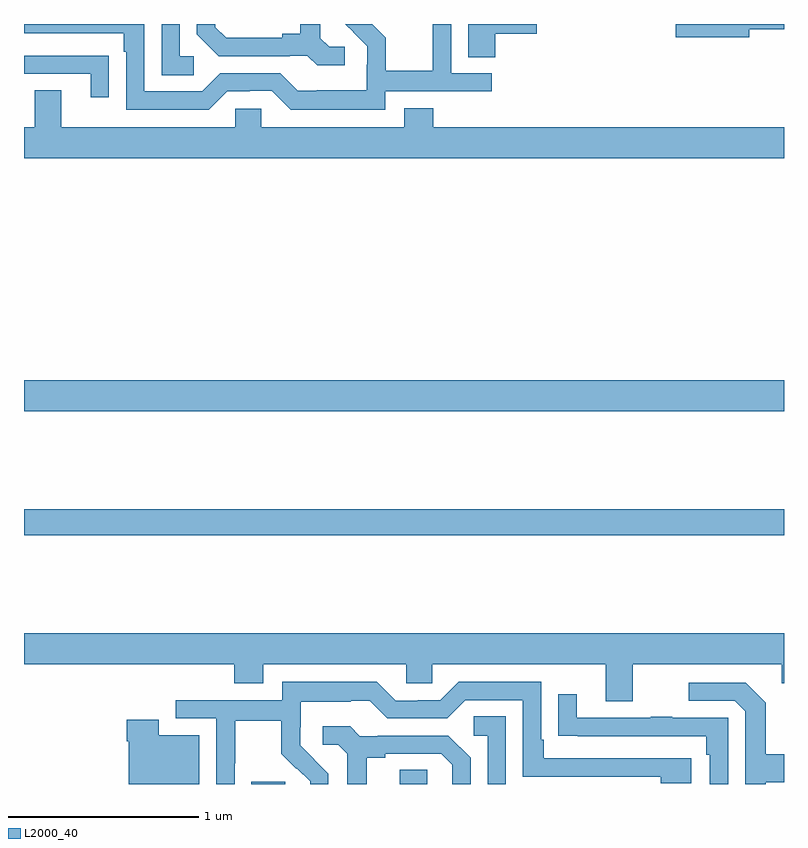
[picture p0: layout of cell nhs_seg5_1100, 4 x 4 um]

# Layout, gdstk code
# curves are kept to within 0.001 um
import gdstk
lib = gdstk.Library(unit=1e-6, precision=1e-09)
def R(c, l, rs):  # rectangles x0, y0, x1, y1
    for r in rs: c.add(gdstk.rectangle(r[:2], r[2:], *l))
def P(c, l, *ps):  # polygons
    for p in ps: c.add(gdstk.Polygon(p, *l))
L2000_40 = (2000, 40)

nhs_seg5_1100 = lib.new_cell('nhs_seg5_1100')
R(nhs_seg5_1100, L2000_40, [(180.197,854.799,180.376,854.811), (180.977,854.799,181.122,854.873), (179,856.108,183,856.244), (179,856.76,183,856.924)])
P(nhs_seg5_1100, L2000_40, [(182.818,858.772),(183,858.772),(183,858.799),(182.43,858.799),(182.43,858.73),(182.818,858.73)],
  [(181.481,858.749),(181.699,858.749),(181.699,858.799),(181.337,858.799),(181.337,858.625),(181.481,858.625)],
  [(179.893,858.63),(179.82,858.63),(179.82,858.799),(179.724,858.799),(179.724,858.529),(179.893,858.529)],
  [(180.9,858.444),(181.462,858.444),(181.462,858.54),(181.248,858.54),(181.248,858.799),(181.152,858.799),(181.152,858.776),(181.15,858.776),(181.15,858.553),(180.905,858.553),(180.905,858.727),(180.833,858.799),(180.691,858.799),(180.806,858.682),(180.806,858.585),(180.804,858.585),(180.804,858.451),(180.541,858.451),(180.541,858.447),(180.441,858.447),(180.348,858.54),(180.033,858.54),(179.937,858.444),(179.634,858.444),(179.634,858.799),(179,858.799),(179,858.75),(179.525,858.75),(179.525,858.653),(179.538,858.653),(179.538,858.348),(179.973,858.348),(180.069,858.444),(180.188,858.444),(180.188,858.447),(180.303,858.447),(180.403,858.347),(180.9,858.347)],
  [(180.688,858.678),(180.606,858.678),(180.559,858.725),(180.559,858.799),(180.455,858.799),(180.455,858.749),(180.359,858.749),(180.359,858.726),(180.064,858.726),(180.007,858.783),(180.007,858.799),(179.91,858.799),(179.91,858.746),(180.026,858.63),(180.398,858.63),(180.398,858.633),(180.492,858.633),(180.544,858.581),(180.688,858.581)],
  [(179.447,858.632),(179.345,858.632),(179.345,858.633),(179,858.633),(179,858.537),(179.351,858.537),(179.351,858.414),(179.447,858.414)],
  [(183,858.256),(181.154,858.256),(181.154,858.355),(181.001,858.355),(181.001,858.256),(180.249,858.256),(180.249,858.354),(180.111,858.354),(180.111,858.256),(179.197,858.256),(179.197,858.451),(179.057,858.451),(179.057,858.256),(179,858.256),(179,858.092),(183,858.092)],
  [(182.203,855.428),(182.987,855.428),(182.987,855.329),(183,855.329),(183,855.592),(179,855.592),(179,855.428),(180.107,855.428),(180.107,855.329),(180.259,855.329),(180.259,855.428),(181.011,855.428),(181.011,855.33),(181.149,855.33),(181.149,855.428),(182.063,855.428),(182.063,855.234),(182.203,855.234)],
  [(180.108,854.908),(180.111,854.908),(180.111,855.132),(180.355,855.132),(180.355,854.957),(180.432,854.88),(180.435,854.883),(180.506,854.813),(180.506,854.799),(180.6,854.799),(180.6,854.854),(180.454,855.002),(180.454,855.099),(180.456,855.099),(180.456,855.233),(180.719,855.233),(180.719,855.237),(180.819,855.237),(180.912,855.144),(181.227,855.144),(181.323,855.24),(181.626,855.24),(181.626,854.838),(182.351,854.838),(182.351,854.804),(182.512,854.804),(182.512,854.934),(181.735,854.934),(181.735,855.031),(181.722,855.031),(181.722,855.336),(181.287,855.336),(181.191,855.24),(181.073,855.24),(181.073,855.237),(180.957,855.237),(180.857,855.337),(180.36,855.337),(180.36,855.24),(179.799,855.24),(179.799,855.144),(180.012,855.144),(180.012,854.799),(180.108,854.799)],
  [(182.905,854.807),(183,854.807),(183,854.955),(182.905,854.955),(182.905,855.227),(182.799,855.333),(182.499,855.333),(182.499,855.237),(182.742,855.237),(182.796,855.183),(182.796,854.799),(182.905,854.799)],
  [(182.706,855.147),(182.411,855.147),(182.411,855.152),(182.299,855.152),(182.299,855.147),(181.909,855.147),(181.909,855.271),(181.813,855.271),(181.813,855.052),(181.915,855.052),(181.915,855.051),(182.59,855.051),(182.59,854.954),(182.61,854.954),(182.61,854.799),(182.706,854.799)],
  [(181.536,855.155),(181.368,855.155),(181.368,855.054),(181.44,855.054),(181.44,854.799),(181.536,854.799)],
  [(179.923,855.055),(179.71,855.055),(179.71,855.136),(179.54,855.136),(179.54,855.023),(179.552,855.023),(179.552,854.799),(179.923,854.799)],
  [(180.805,854.936),(180.901,854.936),(180.901,854.958),(181.196,854.958),(181.253,854.901),(181.253,854.799),(181.35,854.799),(181.35,854.938),(181.234,855.054),(180.862,855.054),(180.862,855.051),(180.768,855.051),(180.716,855.103),(180.573,855.103),(180.573,855.006),(180.654,855.006),(180.701,854.959),(180.701,854.799),(180.805,854.799)])

lib.write_gds('nhs_seg5_1100.gds')
